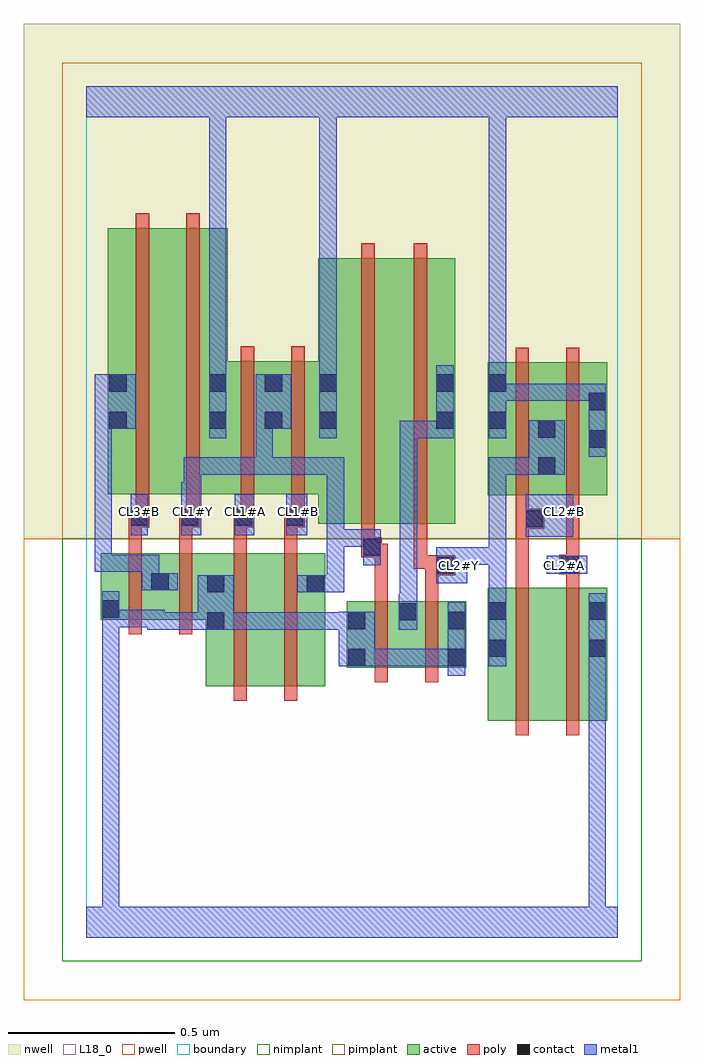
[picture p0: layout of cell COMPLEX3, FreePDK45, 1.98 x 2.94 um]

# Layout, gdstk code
import gdstk
lib = gdstk.Library(unit=1e-6, precision=1e-09)
def R(c, l, rs):  # rectangles x0, y0, x1, y1
    for r in rs: c.add(gdstk.rectangle(r[:2], r[2:], *l))
def A(c, l, x, y, w, h, nx, ny, dx, dy):  # array of equal rectangles
    R(c, l, [(x+i*dx, y+j*dy, x+i*dx+w, y+j*dy+h) for i in range(nx) for j in range(ny)])
active = (1, 0)
pwell = (2, 0)
nwell = (3, 0)
nimplant = (4, 0)
pimplant = (5, 0)
poly = (9, 0)
contact = (10, 0)
metal1 = (11, 0)
L18_0 = (18, 0)
boundary = (235, 0)

complex3 = lib.new_cell('COMPLEX3')
R(complex3, active, [(1.208,0.652,1.268,1.052), (1.208,0.652,1.388,1.052), (1.388,0.652,1.568,1.052), (1.508,0.652,1.568,1.052), (0.36,0.756,0.42,1.156), (0.36,0.756,0.54,1.156), (0.54,0.756,0.72,1.156), (0.66,0.756,0.72,1.156), (0.784,0.812,0.844,1.012), (0.784,0.812,0.996,1.012), (0.936,0.812,0.996,1.012), (0.936,0.812,1.144,1.012), (1.084,0.812,1.144,1.012), (0.044,0.956,0.104,1.156), (0.044,0.956,0.252,1.156), (0.192,0.956,0.252,1.156), (0.192,0.956,0.42,1.156), (0.698,1.244,0.924,2.044), (0.924,1.244,1.11,2.044), (1.05,1.244,1.11,2.044), (1.208,1.33,1.268,1.73), (1.208,1.33,1.416,1.73), (1.356,1.33,1.568,1.73), (1.508,1.33,1.568,1.73), (0.066,1.334,0.246,2.134), (0.066,1.334,0.126,2.044), (0.246,1.334,0.426,2.134), (0.366,1.334,0.426,1.698), (0.366,1.334,0.594,1.734), (0.534,1.334,0.594,1.698), (0.534,1.334,0.758,1.734), (0.698,1.334,0.758,1.698), (1.356,1.388,1.416,1.644)])
R(complex3, pwell, [(-0.188,-0.188,1.788,1.2)])
R(complex3, nwell, [(-0.188,1.2,1.788,2.748)])
R(complex3, nimplant, [(-0.072,-0.072,1.672,1.2)])
R(complex3, pimplant, [(-0.072,1.2,1.672,2.632)])
R(complex3, poly, [(1.292,0.608,1.332,1.096), (1.444,0.608,1.484,1.096), (0.444,0.712,0.484,1.2), (0.596,0.712,0.636,1.2), (0.868,0.768,0.908,1.056), (1.02,0.768,1.06,1.056), (0.128,0.912,0.168,1.2), (0.28,0.912,0.32,1.2), (0.868,1.016,0.908,1.184), (1.02,1.016,1.06,1.13), (1.292,1.056,1.332,1.27), (1.444,1.056,1.484,1.132), (1.02,1.09,1.11,1.15), (1.424,1.092,1.484,1.152), (0.986,1.11,1.026,1.24), (0.986,1.11,1.06,1.15), (1.02,1.11,1.06,1.15), (1.444,1.112,1.484,1.326), (1.444,1.112,1.484,1.152), (1.444,1.112,1.484,1.152), (0.828,1.144,0.89,1.204), (0.85,1.144,0.89,1.184), (0.85,1.144,0.908,1.184), (0.128,1.16,0.168,1.274), (0.28,1.16,0.32,1.274), (0.444,1.16,0.484,1.274), (0.596,1.16,0.636,1.274), (0.828,1.164,0.868,1.24), (0.828,1.2,0.868,2.088), (0.986,1.2,1.026,2.088), (1.292,1.23,1.332,1.27), (1.292,1.23,1.332,1.27), (1.292,1.23,1.378,1.29), (0.128,1.234,0.17,1.274), (0.13,1.234,0.17,1.274), (0.13,1.234,0.19,1.294), (0.28,1.234,0.322,1.274), (0.282,1.234,0.322,1.274), (0.282,1.234,0.342,1.294), (0.444,1.234,0.504,1.294), (0.596,1.234,0.658,1.294), (1.292,1.25,1.332,1.326), (0.15,1.254,0.19,1.33), (0.302,1.254,0.342,1.33), (0.464,1.254,0.504,1.294), (0.464,1.254,0.506,1.294), (0.466,1.254,0.506,1.33), (0.618,1.254,0.658,1.294), (0.618,1.254,0.658,1.294), (0.618,1.254,0.658,1.33), (1.292,1.286,1.332,1.774), (1.444,1.286,1.484,1.774), (0.15,1.29,0.19,2.178), (0.302,1.29,0.342,2.178), (0.466,1.29,0.506,1.778), (0.618,1.29,0.658,1.778)])
R(complex3, contact, [(0.788,0.816,0.84,0.868), (1.088,0.816,1.14,0.868), (1.212,0.844,1.264,0.896), (1.512,0.844,1.564,0.896), (0.364,0.926,0.416,0.978), (0.788,0.928,0.84,0.98), (1.088,0.928,1.14,0.98), (0.94,0.954,0.992,1.006), (1.212,0.956,1.264,1.008), (1.512,0.956,1.564,1.008), (0.048,0.962,0.1,1.014), (0.364,1.038,0.416,1.09), (0.664,1.038,0.716,1.09), (0.196,1.044,0.248,1.096), (1.054,1.094,1.106,1.146), (1.428,1.096,1.48,1.148), (0.834,1.148,0.886,1.2), (1.322,1.234,1.374,1.286), (0.134,1.238,0.186,1.29), (0.286,1.238,0.338,1.29), (0.448,1.238,0.5,1.29), (0.602,1.238,0.654,1.29), (1.36,1.392,1.412,1.444), (1.512,1.474,1.564,1.526), (1.36,1.504,1.412,1.556), (0.07,1.53,0.122,1.582), (0.37,1.53,0.422,1.582), (0.538,1.53,0.59,1.582), (0.702,1.53,0.754,1.582), (1.054,1.53,1.106,1.582), (1.212,1.53,1.264,1.582), (1.512,1.586,1.564,1.638), (0.07,1.642,0.122,1.694), (0.37,1.642,0.422,1.694), (0.538,1.642,0.59,1.694), (0.702,1.642,0.754,1.694), (1.054,1.642,1.106,1.694), (1.212,1.642,1.264,1.694)])
R(complex3, metal1, [(0,0,1.6,0.092), (0.048,0.04,0.1,0.092), (0.048,0.04,0.1,0.092), (0.048,0.04,0.1,0.092), (0.048,0.04,0.1,0.092), (0.048,0.04,0.1,0.092), (0.048,0.04,0.1,0.092), (0.048,0.04,0.1,0.092), (0.048,0.04,0.1,0.092), (0.048,0.04,0.1,0.092), (0.048,0.04,0.1,0.092), (0.048,0.04,0.1,0.092), (0.048,0.04,0.1,0.092), (0.048,0.04,0.1,0.092), (0.048,0.04,0.1,0.092), (0.048,0.04,0.1,0.092), (0.048,0.04,0.1,0.092), (0.048,0.04,0.1,0.986), (1.512,0.04,1.564,0.092), (1.512,0.04,1.564,0.092), (1.512,0.04,1.564,0.092), (1.512,0.04,1.564,0.092), (1.512,0.04,1.564,0.092), (1.512,0.04,1.564,0.092), (1.512,0.04,1.564,0.092), (1.512,0.04,1.564,0.092), (1.512,0.04,1.564,0.092), (1.512,0.04,1.564,0.092), (1.512,0.04,1.564,0.092), (1.512,0.04,1.564,0.092), (1.512,0.04,1.564,0.868), (1.088,0.788,1.14,1.008), (0.76,0.816,0.868,0.98), (0.816,0.816,0.996,0.868), (0.944,0.816,0.996,0.868), (0.944,0.816,0.996,0.868), (0.944,0.816,0.996,0.868), (0.944,0.816,1.14,0.868), (1.088,0.816,1.14,0.868), (1.088,0.816,1.14,0.868), (1.212,0.816,1.264,1.036), (1.512,0.816,1.564,1.036), (0.184,0.926,0.236,0.978), (0.184,0.926,0.236,0.978), (0.184,0.926,0.388,0.978), (0.184,0.926,0.236,0.986), (0.336,0.926,0.444,1.09), (0.392,0.926,0.532,0.978), (0.48,0.926,0.532,0.978), (0.48,0.926,0.578,0.978), (0.526,0.926,0.578,0.978), (0.526,0.926,0.642,0.978), (0.59,0.926,0.642,0.978), (0.59,0.926,0.772,0.978), (0.72,0.926,0.772,0.978), (0.72,0.926,0.812,0.978), (0.94,0.926,0.996,1.034), (0.048,0.934,0.1,0.986), (0.048,0.934,0.1,0.986), (0.048,0.934,0.1,1.042), (0.048,0.934,0.236,0.986), (0.944,0.982,0.996,1.034), (0.944,0.982,0.996,1.034), (0.944,0.982,0.996,1.554), (1.212,0.984,1.264,1.174), (0.636,1.038,0.776,1.09), (0.724,1.038,0.776,1.228), (0.168,1.044,0.22,1.152), (0.168,1.044,0.276,1.096), (1.054,1.066,1.146,1.174), (1.386,1.094,1.508,1.148), (0.026,1.1,0.078,1.152), (0.026,1.1,0.078,1.152), (0.026,1.1,0.078,1.152), (0.026,1.1,0.22,1.152), (0.026,1.1,0.078,1.582), (0.168,1.1,0.22,1.152), (0.834,1.12,0.886,1.228), (1.094,1.122,1.146,1.174), (1.094,1.122,1.146,1.174), (1.094,1.122,1.264,1.174), (1.212,1.122,1.264,1.174), (1.212,1.122,1.264,1.444), (0.724,1.176,0.776,1.228), (0.724,1.176,0.776,1.228), (0.724,1.176,0.776,1.228), (0.724,1.176,0.776,1.228), (0.724,1.176,0.886,1.228), (0.724,1.176,0.776,1.444), (1.322,1.206,1.466,1.334), (0.134,1.21,0.186,1.334), (0.286,1.21,0.346,1.37), (0.448,1.21,0.506,1.334), (0.602,1.21,0.666,1.334), (0.294,1.318,0.346,1.37), (0.294,1.318,0.346,1.444), (0.294,1.392,0.532,1.444), (0.48,1.392,0.532,1.444), (0.48,1.392,0.562,1.444), (0.51,1.392,0.562,1.444), (0.51,1.392,0.562,1.582), (0.51,1.392,0.666,1.444), (0.614,1.392,0.666,1.444), (0.614,1.392,0.776,1.444), (1.212,1.392,1.264,1.444), (1.212,1.392,1.264,1.444), (1.212,1.392,1.264,1.444), (1.212,1.392,1.264,1.444), (1.212,1.392,1.264,1.444), (1.212,1.392,1.384,1.444), (1.332,1.392,1.44,1.556), (1.512,1.446,1.564,1.666), (0.37,1.502,0.422,1.722), (0.702,1.502,0.754,1.722), (0.944,1.502,0.996,1.554), (0.944,1.502,1.106,1.554), (1.054,1.502,1.106,1.554), (1.054,1.502,1.106,1.554), (1.054,1.502,1.106,1.554), (1.054,1.502,1.106,1.554), (1.054,1.502,1.106,1.722), (1.212,1.502,1.264,1.722), (0.026,1.53,0.078,1.582), (0.026,1.53,0.078,1.582), (0.026,1.53,0.15,1.694), (0.51,1.53,0.618,1.694), (1.212,1.614,1.264,1.666), (1.212,1.614,1.264,1.666), (1.212,1.614,1.374,1.666), (1.322,1.614,1.374,1.666), (1.322,1.614,1.564,1.666), (1.512,1.614,1.564,1.666), (1.512,1.614,1.564,1.666), (0.37,1.67,0.422,1.722), (0.37,1.67,0.422,1.722), (0.37,1.67,0.422,1.722), (0.37,1.67,0.422,1.722), (0.37,1.67,0.422,2.52), (0.702,1.67,0.754,2.52), (1.212,1.67,1.264,1.722), (1.212,1.67,1.264,1.722), (1.212,1.67,1.264,1.722), (1.212,1.67,1.264,1.722), (1.212,1.67,1.264,2.52), (0,2.468,1.6,2.56), (0.37,2.468,0.422,2.52), (0.37,2.468,0.422,2.52), (0.37,2.468,0.422,2.52), (0.37,2.468,0.422,2.52), (0.702,2.468,0.754,2.52), (0.702,2.468,0.754,2.52), (0.702,2.468,0.754,2.52), (0.702,2.468,0.754,2.52), (0.702,2.468,0.754,2.52), (0.702,2.468,0.754,2.52), (0.702,2.468,0.754,2.52), (0.702,2.468,0.754,2.52), (1.212,2.468,1.264,2.52), (1.212,2.468,1.264,2.52), (1.212,2.468,1.264,2.52), (1.212,2.468,1.264,2.52), (1.212,2.468,1.264,2.52), (1.212,2.468,1.264,2.52), (1.212,2.468,1.264,2.52), (1.212,2.468,1.264,2.52), (1.212,2.468,1.264,2.52), (1.212,2.468,1.264,2.52), (1.212,2.468,1.264,2.52), (1.212,2.468,1.264,2.52)])
A(complex3, L18_0, 0.134, 1.254, 0.052, 0.052, 4, 1, 0.16, 0)
R(complex3, L18_0, [(0,0,1.6,0.092), (0.048,0.04,0.1,0.092), (0.048,0.04,0.1,0.092), (0.048,0.04,0.1,0.092), (0.048,0.04,0.1,0.092), (0.048,0.04,0.1,0.092), (0.048,0.04,0.1,0.092), (0.048,0.04,0.1,0.092), (0.048,0.04,0.1,0.092), (0.048,0.04,0.1,0.092), (0.048,0.04,0.1,0.092), (0.048,0.04,0.1,0.092), (0.048,0.04,0.1,0.092), (0.048,0.04,0.1,0.092), (0.048,0.04,0.1,0.092), (0.048,0.04,0.1,0.092), (0.048,0.04,0.1,0.092), (0.048,0.04,0.1,0.986), (1.512,0.04,1.564,0.092), (1.512,0.04,1.564,0.092), (1.512,0.04,1.564,0.092), (1.512,0.04,1.564,0.092), (1.512,0.04,1.564,0.092), (1.512,0.04,1.564,0.092), (1.512,0.04,1.564,0.092), (1.512,0.04,1.564,0.092), (1.512,0.04,1.564,0.092), (1.512,0.04,1.564,0.092), (1.512,0.04,1.564,0.092), (1.512,0.04,1.564,0.092), (1.512,0.04,1.564,0.868), (1.088,0.788,1.14,1.008), (0.76,0.816,0.868,0.98), (0.816,0.816,0.996,0.868), (0.944,0.816,0.996,0.868), (0.944,0.816,0.996,0.868), (0.944,0.816,0.996,0.868), (0.944,0.816,1.14,0.868), (1.088,0.816,1.14,0.868), (1.088,0.816,1.14,0.868), (1.212,0.816,1.264,1.036), (1.512,0.816,1.564,1.036), (0.184,0.926,0.236,0.978), (0.184,0.926,0.236,0.978), (0.184,0.926,0.236,0.986), (0.184,0.926,0.388,0.978), (0.336,0.926,0.444,1.09), (0.392,0.926,0.532,0.978), (0.48,0.926,0.532,0.978), (0.48,0.926,0.578,0.978), (0.526,0.926,0.578,0.978), (0.526,0.926,0.642,0.978), (0.59,0.926,0.642,0.978), (0.59,0.926,0.772,0.978), (0.72,0.926,0.772,0.978), (0.72,0.926,0.812,0.978), (0.048,0.934,0.1,0.986), (0.048,0.934,0.1,0.986), (0.048,0.934,0.1,1.042), (0.048,0.934,0.236,0.986), (1.212,0.984,1.264,1.174), (0.636,1.038,0.776,1.09), (0.724,1.038,0.776,1.228), (1.054,1.066,1.146,1.174), (1.094,1.094,1.146,1.146), (1.386,1.094,1.508,1.148), (1.414,1.094,1.466,1.146), (0.834,1.12,0.886,1.228), (1.094,1.122,1.146,1.174), (1.094,1.122,1.146,1.174), (1.094,1.122,1.264,1.174), (1.212,1.122,1.264,1.174), (1.212,1.122,1.264,1.444), (0.724,1.176,0.776,1.228), (0.724,1.176,0.776,1.228), (0.724,1.176,0.776,1.228), (0.724,1.176,0.776,1.228), (0.724,1.176,0.776,1.444), (0.724,1.176,0.886,1.228), (1.322,1.206,1.466,1.334), (0.134,1.21,0.186,1.334), (0.286,1.21,0.346,1.37), (0.448,1.21,0.506,1.334), (0.602,1.21,0.666,1.334), (1.414,1.254,1.466,1.306), (0.294,1.318,0.346,1.37), (0.294,1.318,0.346,1.444), (0.294,1.392,0.532,1.444), (0.48,1.392,0.532,1.444), (0.48,1.392,0.562,1.444), (0.51,1.392,0.562,1.444), (0.51,1.392,0.562,1.582), (0.51,1.392,0.666,1.444), (0.614,1.392,0.666,1.444), (0.614,1.392,0.776,1.444), (1.212,1.392,1.264,1.444), (1.212,1.392,1.264,1.444), (1.212,1.392,1.264,1.444), (1.212,1.392,1.264,1.444), (1.212,1.392,1.264,1.444), (1.212,1.392,1.384,1.444), (1.332,1.392,1.44,1.556), (1.512,1.446,1.564,1.666), (0.37,1.502,0.422,1.722), (0.702,1.502,0.754,1.722), (1.212,1.502,1.264,1.722), (0.51,1.53,0.618,1.694), (1.212,1.614,1.264,1.666), (1.212,1.614,1.264,1.666), (1.212,1.614,1.374,1.666), (1.322,1.614,1.374,1.666), (1.322,1.614,1.564,1.666), (1.512,1.614,1.564,1.666), (1.512,1.614,1.564,1.666), (0.37,1.67,0.422,1.722), (0.37,1.67,0.422,1.722), (0.37,1.67,0.422,1.722), (0.37,1.67,0.422,1.722), (0.37,1.67,0.422,2.52), (0.702,1.67,0.754,2.52), (1.212,1.67,1.264,1.722), (1.212,1.67,1.264,1.722), (1.212,1.67,1.264,1.722), (1.212,1.67,1.264,1.722), (1.212,1.67,1.264,2.52), (0,2.468,1.6,2.56), (0.37,2.468,0.422,2.52), (0.37,2.468,0.422,2.52), (0.37,2.468,0.422,2.52), (0.37,2.468,0.422,2.52), (0.702,2.468,0.754,2.52), (0.702,2.468,0.754,2.52), (0.702,2.468,0.754,2.52), (0.702,2.468,0.754,2.52), (0.702,2.468,0.754,2.52), (0.702,2.468,0.754,2.52), (0.702,2.468,0.754,2.52), (0.702,2.468,0.754,2.52), (1.212,2.468,1.264,2.52), (1.212,2.468,1.264,2.52), (1.212,2.468,1.264,2.52), (1.212,2.468,1.264,2.52), (1.212,2.468,1.264,2.52), (1.212,2.468,1.264,2.52), (1.212,2.468,1.264,2.52), (1.212,2.468,1.264,2.52), (1.212,2.468,1.264,2.52), (1.212,2.468,1.264,2.52), (1.212,2.468,1.264,2.52), (1.212,2.468,1.264,2.52)])
R(complex3, boundary, [(0,0,1.6,2.56)])
complex3.add(gdstk.Label('CL1#A', (0.48,1.28), layer=11, texttype=0))
complex3.add(gdstk.Label('CL1#B', (0.64,1.28), layer=11, texttype=0))
complex3.add(gdstk.Label('CL1#Y', (0.32,1.28), layer=11, texttype=0))
complex3.add(gdstk.Label('CL2#A', (1.44,1.12), layer=11, texttype=0))
complex3.add(gdstk.Label('CL2#B', (1.44,1.28), layer=11, texttype=0))
complex3.add(gdstk.Label('CL2#Y', (1.12,1.12), layer=11, texttype=0))
complex3.add(gdstk.Label('CL3#B', (0.16,1.28), layer=11, texttype=0))

lib.write_gds('COMPLEX3.gds')
